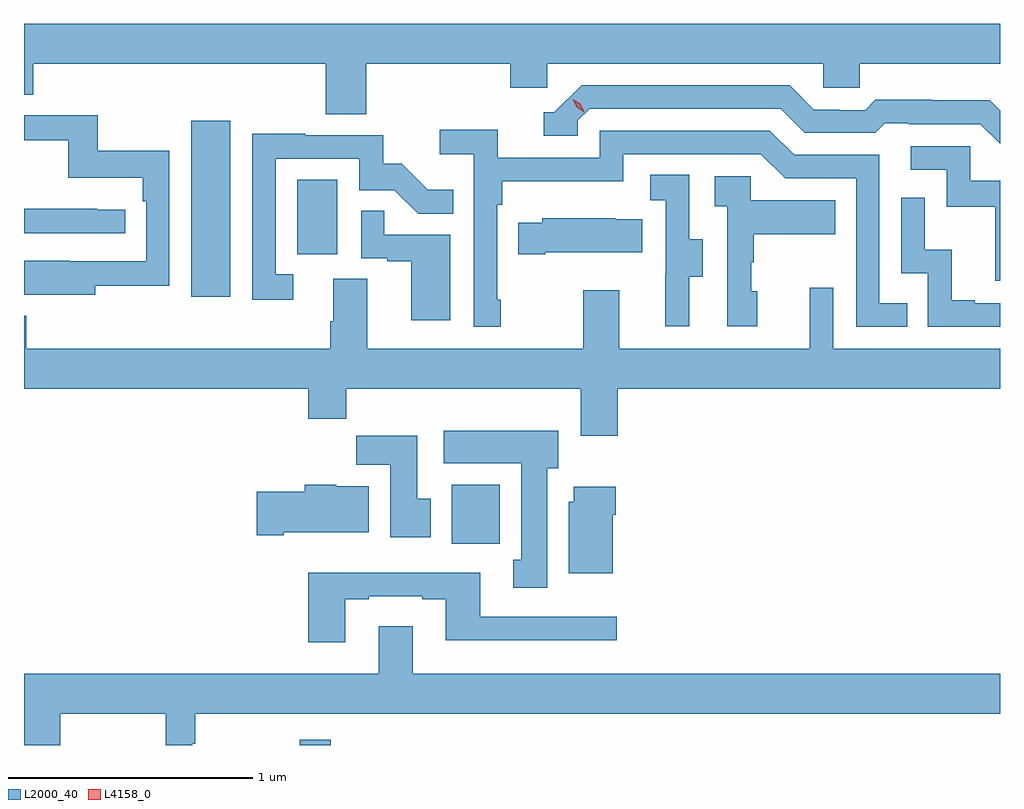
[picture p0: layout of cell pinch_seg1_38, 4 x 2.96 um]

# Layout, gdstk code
import gdstk
lib = gdstk.Library(unit=1e-6, precision=1e-09)
def R(c, l, rs):  # rectangles x0, y0, x1, y1
    for r in rs: c.add(gdstk.rectangle(r[:2], r[2:], *l))
def P(c, l, *ps):  # polygons
    for p in ps: c.add(gdstk.Polygon(p, *l))
L2000_40 = (2000, 40)
L4158_0 = (4158, 0)

pinch_seg1_38 = lib.new_cell('pinch_seg1_38')
R(pinch_seg1_38, L2000_40, [(1103.28,567.586,1103.408,567.61), (1103.903,568.412,1104.1,568.654), (1102.835,569.424,1102.996,570.145), (1103.27,569.598,1103.434,569.905)])
P(pinch_seg1_38, L2000_40, [(1103.552,570.38),(1104.143,570.38),(1104.143,570.282),(1104.294,570.282),(1104.294,570.38),(1105.425,570.38),(1105.425,570.282),(1105.575,570.282),(1105.575,570.38),(1106.15,570.38),(1106.15,570.544),(1102.15,570.544),(1102.15,570.253),(1102.187,570.253),(1102.187,570.38),(1103.387,570.38),(1103.387,570.172),(1103.552,570.172)],
  [(1106.15,570.187),(1106.108,570.229),(1105.872,570.229),(1105.872,570.232),(1105.639,570.232),(1105.597,570.189),(1105.494,570.189),(1105.494,570.192),(1105.387,570.192),(1105.288,570.291),(1104.435,570.291),(1104.324,570.18),(1104.281,570.18),(1104.281,570.084),(1104.42,570.084),(1104.42,570.147),(1104.468,570.195),(1105.251,570.195),(1105.35,570.096),(1105.639,570.096),(1105.678,570.135),(1105.777,570.135),(1105.777,570.132),(1106.07,570.132),(1106.15,570.052)],
  [(1102.441,569.47),(1102.746,569.47),(1102.746,570.022),(1102.453,570.022),(1102.453,570.168),(1102.15,570.168),(1102.15,570.067),(1102.332,570.067),(1102.332,569.912),(1102.637,569.912),(1102.637,569.816),(1102.65,569.816),(1102.65,569.571),(1102.337,569.571),(1102.337,569.572),(1102.15,569.572),(1102.15,569.432),(1102.441,569.432)],
  [(1104.103,569.413),(1104.09,569.413),(1104.09,569.801),(1104.11,569.801),(1104.11,569.897),(1104.606,569.897),(1104.606,570.009),(1105.17,570.009),(1105.269,569.91),(1105.56,569.91),(1105.56,569.301),(1105.769,569.301),(1105.769,569.397),(1105.656,569.397),(1105.656,570.006),(1105.306,570.006),(1105.207,570.105),(1104.51,570.105),(1104.51,569.994),(1104.092,569.994),(1104.092,570.11),(1103.853,570.11),(1103.853,570.008),(1103.994,570.008),(1103.994,569.301),(1104.103,569.301)],
  [(1103.254,569.517),(1103.181,569.517),(1103.181,569.991),(1103.523,569.991),(1103.523,569.862),(1103.667,569.862),(1103.765,569.764),(1103.909,569.764),(1103.909,569.863),(1103.805,569.863),(1103.698,569.97),(1103.622,569.97),(1103.622,570.087),(1103.303,570.087),(1103.303,570.092),(1103.085,570.092),(1103.085,569.412),(1103.254,569.412)],
  [(1106.15,569.901),(1106.028,569.901),(1106.028,570.042),(1105.785,570.042),(1105.785,569.946),(1105.932,569.946),(1105.932,569.793),(1106.131,569.793),(1106.131,569.49),(1106.15,569.49)],
  [(1104.877,569.506),(1104.931,569.506),(1104.931,569.661),(1104.876,569.661),(1104.876,569.924),(1104.717,569.924),(1104.717,569.821),(1104.78,569.821),(1104.78,569.517),(1104.779,569.517),(1104.779,569.304),(1104.877,569.304)],
  [(1105.156,569.448),(1105.131,569.448),(1105.131,569.567),(1105.141,569.567),(1105.141,569.681),(1105.475,569.681),(1105.475,569.821),(1105.128,569.821),(1105.128,569.919),(1104.981,569.919),(1104.981,569.795),(1105.032,569.795),(1105.032,569.304),(1105.156,569.304)],
  [(1106.15,569.397),(1106.047,569.397),(1106.047,569.41),(1105.952,569.41),(1105.952,569.618),(1105.842,569.618),(1105.842,569.83),(1105.746,569.83),(1105.746,569.52),(1105.854,569.52),(1105.854,569.301),(1106.15,569.301)],
  [(1102.564,569.781),(1102.451,569.781),(1102.451,569.786),(1102.15,569.786),(1102.15,569.685),(1102.564,569.685)],
  [(1103.896,569.679),(1103.627,569.679),(1103.627,569.777),(1103.532,569.777),(1103.532,569.583),(1103.639,569.583),(1103.639,569.571),(1103.738,569.571),(1103.738,569.328),(1103.896,569.328)],
  [(1104.286,569.606),(1104.683,569.606),(1104.683,569.743),(1104.575,569.743),(1104.575,569.746),(1104.273,569.746),(1104.273,569.728),(1104.175,569.728),(1104.175,569.599),(1104.286,569.599)],
  [(1104.584,569.048),(1106.15,569.048),(1106.15,569.212),(1105.467,569.212),(1105.467,569.461),(1105.37,569.461),(1105.37,569.212),(1104.589,569.212),(1104.589,569.452),(1104.442,569.452),(1104.442,569.212),(1103.557,569.212),(1103.557,569.498),(1103.417,569.498),(1103.417,569.324),(1103.405,569.324),(1103.405,569.212),(1102.16,569.212),(1102.16,569.347),(1102.15,569.347),(1102.15,569.048),(1103.315,569.048),(1103.315,568.924),(1103.471,568.924),(1103.471,569.048),(1104.431,569.048),(1104.431,568.854),(1104.584,568.854)],
  [(1104.295,568.722),(1104.34,568.722),(1104.34,568.876),(1103.871,568.876),(1103.871,568.742),(1104.188,568.742),(1104.188,568.346),(1104.155,568.346),(1104.155,568.233),(1104.295,568.233)],
  [(1103.818,568.596),(1103.761,568.596),(1103.761,568.855),(1103.512,568.855),(1103.512,568.736),(1103.651,568.736),(1103.651,568.44),(1103.818,568.44)],
  [(1103.215,568.46),(1103.563,568.46),(1103.563,568.648),(1103.43,568.648),(1103.43,568.654),(1103.3,568.654),(1103.3,568.626),(1103.103,568.626),(1103.103,568.448),(1103.215,568.448)],
  [(1104.562,568.532),(1104.575,568.532),(1104.575,568.645),(1104.404,568.645),(1104.404,568.584),(1104.383,568.584),(1104.383,568.292),(1104.562,568.292)],
  [(1103.467,568.185),(1103.563,568.185),(1103.563,568.197),(1103.783,568.197),(1103.783,568.185),(1103.879,568.185),(1103.879,568.016),(1104.58,568.016),(1104.58,568.113),(1104.019,568.113),(1104.019,568.294),(1103.315,568.294),(1103.315,568.008),(1103.467,568.008)],
  [(1102.299,567.716),(1102.731,567.716),(1102.731,567.586),(1102.84,567.586),(1102.84,567.593),(1102.852,567.593),(1102.852,567.716),(1106.15,567.716),(1106.15,567.88),(1103.743,567.88),(1103.743,568.075),(1103.603,568.075),(1103.603,567.88),(1102.15,567.88),(1102.15,567.586),(1102.299,567.586)])
P(pinch_seg1_38, L4158_0, [(1104.445,570.182),(1104.415,570.202),(1104.399,570.235),(1104.399,570.235),(1104.399,570.235),(1104.43,570.216),(1104.446,570.183),(1104.446,570.182)])

lib.write_gds('pinch_seg1_38.gds')
